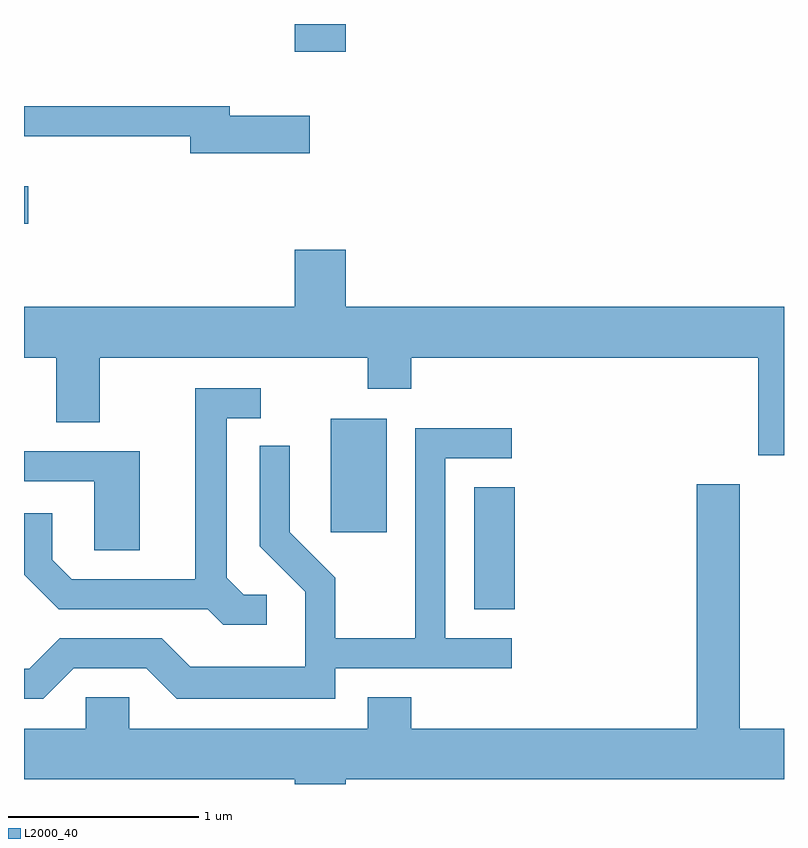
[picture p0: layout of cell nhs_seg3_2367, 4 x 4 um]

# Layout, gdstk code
import gdstk
lib = gdstk.Library(unit=1e-6, precision=1e-09)
def R(c, l, rs):  # rectangles x0, y0, x1, y1
    for r in rs: c.add(gdstk.rectangle(r[:2], r[2:], *l))
def P(c, l, *ps):  # polygons
    for p in ps: c.add(gdstk.Polygon(p, *l))
L2000_40 = (2000, 40)

nhs_seg3_2367 = lib.new_cell('nhs_seg3_2367')
R(nhs_seg3_2367, L2000_40, [(255.981,1226.811,256.194,1227.454), (255.226,1227.216,255.519,1227.814), (253.611,1228.841,253.634,1229.039), (255.036,1229.746,255.304,1229.892)])
P(nhs_seg3_2367, L2000_40, [(255.114,1229.409),(254.694,1229.409),(254.694,1229.459),(253.611,1229.459),(253.611,1229.301),(254.486,1229.301),(254.486,1229.211),(255.114,1229.211)],
  [(257.611,1228.404),(255.304,1228.404),(255.304,1228.704),(255.036,1228.704),(255.036,1228.404),(253.611,1228.404),(253.611,1228.136),(253.781,1228.136),(253.781,1227.796),(254.009,1227.796),(254.009,1228.136),(255.421,1228.136),(255.421,1227.971),(255.649,1227.971),(255.649,1228.136),(257.476,1228.136),(257.476,1227.621),(257.611,1227.621)],
  [(254.888,1226.889),(254.767,1226.889),(254.679,1226.977),(254.679,1227.816),(254.858,1227.816),(254.858,1227.974),(254.511,1227.974),(254.511,1226.969),(253.862,1226.969),(253.759,1227.072),(253.759,1227.318),(253.611,1227.318),(253.611,1226.994),(253.794,1226.811),(254.579,1226.811),(254.659,1226.731),(254.888,1226.731)],
  [(253.872,1226.501),(254.254,1226.501),(254.414,1226.341),(255.249,1226.341),(255.249,1226.501),(256.178,1226.501),(256.178,1226.659),(255.829,1226.659),(255.829,1227.606),(256.178,1227.606),(256.178,1227.764),(255.671,1227.764),(255.671,1226.659),(255.249,1226.659),(255.249,1226.977),(255.009,1227.217),(255.009,1227.673),(254.851,1227.673),(254.851,1227.144),(255.091,1226.904),(255.091,1226.509),(254.487,1226.509),(254.337,1226.659),(253.799,1226.659),(253.639,1226.499),(253.611,1226.499),(253.611,1226.341),(253.712,1226.341)],
  [(254.219,1227.644),(253.611,1227.644),(253.611,1227.486),(253.981,1227.486),(253.981,1227.121),(254.219,1227.121)],
  [(255.304,1225.916),(257.611,1225.916),(257.611,1226.184),(257.379,1226.184),(257.379,1227.469),(257.151,1227.469),(257.151,1226.184),(255.649,1226.184),(255.649,1226.349),(255.421,1226.349),(255.421,1226.184),(254.164,1226.184),(254.164,1226.349),(253.936,1226.349),(253.936,1226.184),(253.611,1226.184),(253.611,1225.916),(255.036,1225.916),(255.036,1225.892),(255.304,1225.892)])

lib.write_gds('nhs_seg3_2367.gds')
